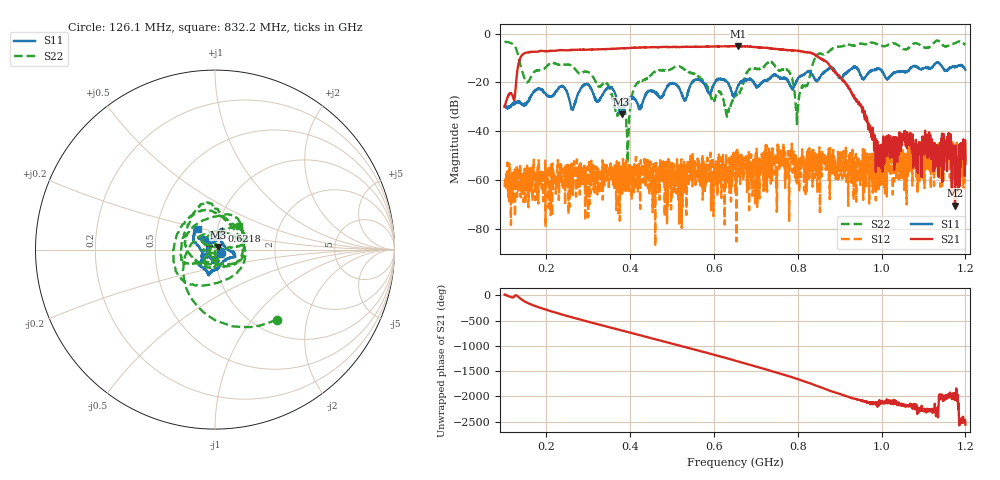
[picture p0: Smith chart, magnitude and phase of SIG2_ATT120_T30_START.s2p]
# Hz S RI R 50
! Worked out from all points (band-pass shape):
!   1601 points, 100 MHz to 1.2 GHz, reference 50 ohm
!   highest |S21| = -5.14 dB at 658.2 MHz (marker M1); lowest = -70.4 dB at 1.175 GHz (marker M2)
!   |S21| within 3 dB of the highest: 146.6 MHz to 834.1 MHz (687.5 MHz wide, 140 % of centre)
!   lowest |S11| = -33.1 dB at 379.1 MHz (marker M3), VSWR 1.05, Z = 51.7 + j1.49 ohm
!   |S11| at or under -10 dB: start of sweep to end of sweep
!   |S22| runs from -53.2 to -2.8 dB; largest |S21 - S12| = 0.55
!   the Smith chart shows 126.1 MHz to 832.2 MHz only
!   S11 on the Smith chart (normalised r, x): 126.1 MHz: 1.07, -0.04; 621.8 MHz: 1.05, +0.23; 832.2 MHz: 0.80, +0.19
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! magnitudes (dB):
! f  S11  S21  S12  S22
! 100 MHz  -29.7  -30.1  -63.0  -3.5
! 126.1 MHz  -28.6  -22.7  -61.2  -5.7
! 153.6 MHz  -28.6  -7.8  -54.1  -20.1
! 283.6 MHz  -22.2  -6.7  -56.5  -16.2
! 353.7 MHz  -22.0  -6.4  -59.7  -23.6
! 379.1 MHz  -33.1  -6.1  -54.6  -29.7
! 393.6 MHz  -27.9  -5.9  -55.8  -53.2
! 412.1 MHz  -26.9  -5.8  -63.9  -21.5
! 467.1 MHz  -25.4  -5.6  -65.0  -15.1
! 621.8 MHz  -19.0  -5.3  -53.7  -26.7
! 650 MHz  -24.7  -5.2  -54.5  -25.5
! 658.2 MHz  -21.3  -5.1  -59.5  -24.5
! 734.6 MHz  -17.9  -6.1  -50.7  -11.5
! 779.9 MHz  -20.9  -6.8  -55.8  -15.7
! 798.5 MHz  -19.0  -7.0  -61.4  -34.4
! 832.2 MHz  -16.3  -7.9  -51.3  -14.6
! 833.6 MHz  -16.6  -7.9  -50.1  -13.7
! 920.2 MHz  -15.5  -21.9  -70.6  -4.5
! 991.7 MHz  -14.5  -48.4  -49.3  -4.6
! 1.017 GHz  -17.9  -48.5  -47.2  -4.5
! 1.175 GHz  -13.5  -70.4  -54.0  -4.0
! 1.2 GHz  -14.9  -53.4  -48.3  -4.6
